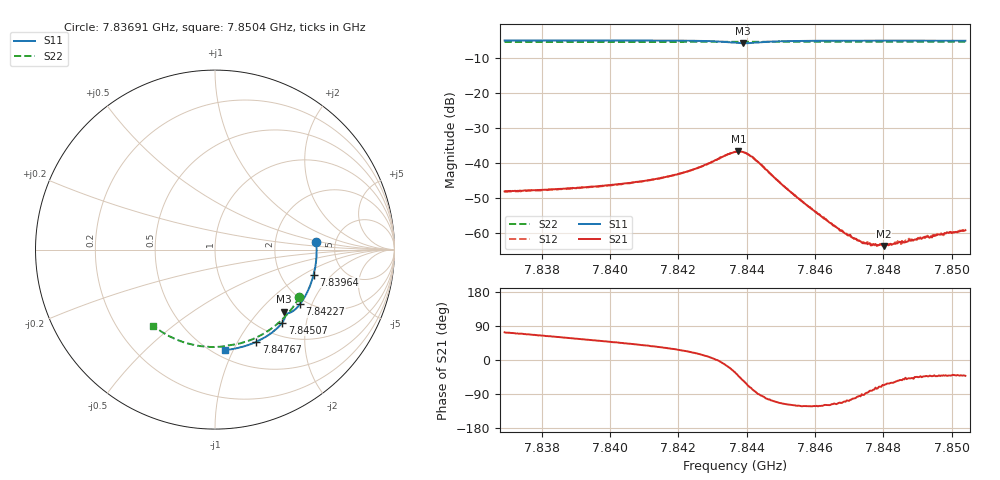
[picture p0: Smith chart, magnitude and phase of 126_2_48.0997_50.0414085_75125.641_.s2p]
#  HZ  S  RI  R  50.00
! Rohde & Schwarz Vector Network Analyzer
! Rohde-Schwarz,ZNB20-2Port,1311601062101988,3.16
! Created: UTC 12/23/2023, 3:47:17 AM
! freq[Hz]  re:S11  im:S11  re:S21  im:S21  re:S12  im:S12  re:S22  im:S22
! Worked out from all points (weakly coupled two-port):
!   401 points, 7.83691 GHz to 7.8504 GHz, reference 50 ohm
!   highest |S21| = -36.63 dB at 7.84376 GHz (marker M1); lowest = -63.8 dB at 7.848 GHz (marker M2)
!   lowest |S11| = -5.7 dB at 7.84389 GHz (marker M3), VSWR 3.14, Z = 73.3 - j69.3 ohm
!   |S11| at or under -10 dB: nowhere
!   |S22| runs from -5.4 to -5.3 dB; largest |S21 - S12| = 0.00039
!   S11 on the Smith chart (normalised r, x): 7.83691 GHz: 3.55, +0.43; 7.83964 GHz: 3.05, -1.25; 7.84227 GHz: 1.85, -1.64; 7.84507 GHz: 1.25, -1.46; 7.84767 GHz: 0.80, -1.20; 7.8504 GHz: 0.57, -0.93
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7.836915e9  0.5647 0.0413  0.00115 0.00375  0.00119 0.00372  0.4701 -0.2648
7.839173e9  0.5566 -0.1084  0.0026 0.00369  0.00252 0.00361  0.374 -0.3901
7.839645e9  0.5495 -0.1395  0.00292 0.00363  0.00289 0.00357  0.3495 -0.4123
7.841431e9  0.5058 -0.2531  0.00498 0.0034  0.00491 0.00336  0.2458 -0.4821
7.842274e9  0.4734 -0.3041  0.00703 0.00293  0.007 0.00294  0.1915 -0.5064
7.843655e9  0.3881 -0.3527  0.0121 -0.0077  0.0122 -0.00776  0.0985 -0.5301
7.843757e9  0.3844 -0.3499  0.0109 -0.00992  0.0109 -0.00966  0.0921 -0.5312
7.843891e9  0.3835 -0.3466  0.00845 -0.0116  0.00839 -0.0116  0.0838 -0.5327
7.844228e9  0.3911 -0.3523  0.00159 -0.0113  0.00162 -0.0113  0.062 -0.5368
7.845071e9  0.3744 -0.4071  -0.00202 -0.00427  -0.00203 -0.00429  0.00337 -0.5428
7.845914e9  0.3324 -0.4509  -0.00116 -0.00184  -0.00116 -0.00188  -0.0561 -0.5406
7.846925e9  0.2752 -0.4905  -0.000271 -0.00091  -0.000291 -0.000931  -0.1264 -0.5295
7.847397e9  0.2469 -0.5056  -2.39e-05 -0.00071  -2.58e-05 -0.000738  -0.1584 -0.521
7.847666e9  0.2306 -0.5135  0.000105 -0.000662  9.04e-05 -0.000658  -0.1765 -0.5154
7.848003e9  0.2099 -0.5224  0.000257 -0.000596  0.000247 -0.000616  -0.1987 -0.5075
7.848172e9  0.1993 -0.5266  0.000322 -0.000605  0.000312 -0.000595  -0.2097 -0.503
7.848408e9  0.1844 -0.5319  0.000406 -0.00058  0.000422 -0.000622  -0.225 -0.4966
7.848542e9  0.176 -0.5346  0.000458 -0.000614  0.000458 -0.000544  -0.2336 -0.4926
7.848745e9  0.163 -0.5389  0.000528 -0.000586  0.000557 -0.000614  -0.2463 -0.4864
7.848913e9  0.1521 -0.5419  0.000571 -0.000569  0.000544 -0.000561  -0.257 -0.4812
7.849891e9  0.0886 -0.5555  0.000753 -0.000659  0.000742 -0.000663  -0.3155 -0.4456
7.850396e9  0.0552 -0.5596  0.000813 -0.000726  0.000862 -0.000749  -0.3438 -0.4244
